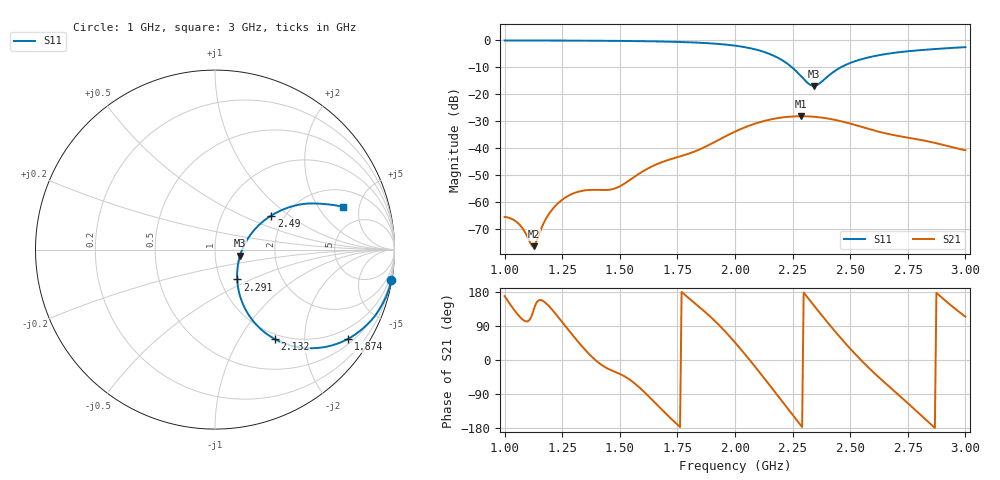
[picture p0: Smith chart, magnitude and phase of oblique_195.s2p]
! TOUCHSTONE file generated by CST MICROWAVE STUDIO
! Date and time: Tue Mar 18 00:02:59 2025
! Project name: oblique.cst
! Parameters = {Tilt=40; Fracture=1; B=12.5; D=160; F=15; Feed=2.85625; L=100; M=30; R=0.384908; S=2; Theta=270; length=57.125; wave=114.25}
! Header version: 2024
! Port assignment regex: !\s*Touchstone port\s*([0-9]+)\s*=\s*(CST MWS port|CST DES external port|CST DES block port)\s*(.+)\s* \(\"(.*)\"\)(\s*mode\s*([0-9]+))?.*
! Touchstone port assignment:
! Touchstone port 1 = CST MWS port 1 ("")
! Touchstone port 2 = CST MWS port 2 ("")
# GHz S DB R 50
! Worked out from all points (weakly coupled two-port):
!   303 points, 1 GHz to 3 GHz, reference 50 ohm
!   highest |S21| = -28.10 dB at 2.285 GHz (marker M1); lowest = -76.3 dB at 1.126 GHz (marker M2)
!   lowest |S11| = -16.9 dB at 2.344 GHz (marker M3), VSWR 1.34, Z = 66.1 - j4.5 ohm
!   |S11| at or under -10 dB: 2.247 GHz to 2.459 GHz (211.5 MHz wide, 8.99 % of centre)
!   S12 and S22 are empty: the file has one direction only
!   S11 on the Smith chart (normalised r, x): 1 GHz: 0, -12; 1.874 GHz: 0.65, -3.16; 2.132 GHz: 0.92, -1.44; 2.291 GHz: 1.20, -0.42; 2.49 GHz: 1.71, +0.75; 3 GHz: 3.13, +3.40
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1  -0.02 -9.8  -65.40 168.6  -200.00 0.0  -200.00 0.0
1.0596  -0.03 -10.6  -67.85 118.3  -200.00 0.0  -200.00 0.0
1.08609  -0.03 -11.0  -70.74 103.5  -200.00 0.0  -200.00 0.0
1.11921  -0.03 -11.5  -76.11 119.5  -200.00 0.0  -200.00 0.0
1.12583  -0.04 -11.6  -76.26 131.7  -200.00 0.0  -200.00 0.0
1.17219  -0.05 -12.3  -67.28 153.6  -200.00 0.0  -200.00 0.0
1.21192  -0.06 -12.9  -62.11 128.7  -200.00 0.0  -200.00 0.0
1.27152  -0.07 -14.0  -57.83 83.6  -200.00 0.0  -200.00 0.0
1.33775  -0.10 -15.2  -55.72 34.8  -200.00 0.0  -200.00 0.0
1.48344  -0.18 -18.5  -54.73 -32.3  -200.00 0.0  -200.00 0.0
1.66887  -0.38 -24.2  -45.59 -122.5  -200.00 0.0  -200.00 0.0
1.87417  -0.99 -33.9  -39.30 124.7  -200.00 0.0  -200.00 0.0
2  -1.96 -43.3  -33.81 46.3  -200.00 0.0  -200.00 0.0
2.13245  -4.45 -56.3  -29.73 -52.5  -200.00 0.0  -200.00 0.0
2.21192  -7.73 -62.7  -28.48 -114.6  -200.00 0.0  -200.00 0.0
2.28477  -13.07 -55.8  -28.10 -171.7  -200.00 0.0  -200.00 0.0
2.29139  -13.67 -53.3  -28.10 -176.9  -200.00 0.0  -200.00 0.0
2.33775  -16.83 -19.9  -28.26 147.3  -200.00 0.0  -200.00 0.0
2.34437  -16.85 -13.4  -28.31 142.3  -200.00 0.0  -200.00 0.0
2.49007  -8.71 31.2  -30.60 36.6  -200.00 0.0  -200.00 0.0
2.66887  -4.87 26.6  -34.75 -70.0  -200.00 0.0  -200.00 0.0
3  -2.50 18.5  -40.71 114.2  -200.00 0.0  -200.00 0.0
